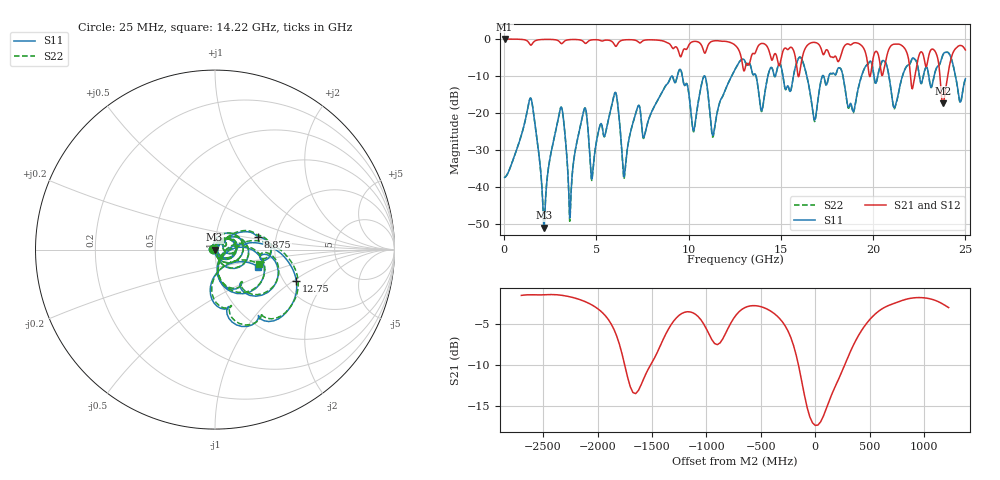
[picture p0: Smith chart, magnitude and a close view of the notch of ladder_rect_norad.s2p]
! R_s4_rect_n1: kisi's ladder with the plane pair as a finite cavity (rect) (Finite board 24 × 16 mm, via L1 → L4 through the L2/L3 cavity, one GND via 2 mm away)
# Hz S RI R 50
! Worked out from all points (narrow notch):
!   1000 points, 25 MHz to 25 GHz, reference 50 ohm
!   highest |S21| = -0.12 dB at 25 MHz (marker M1); lowest = -17.4 dB at 23.77 GHz (marker M2)
!   notch at M2: 15.9 dB deep, 452 MHz wide at half that depth
!   lowest |S11| = -50.9 dB at 2.15 GHz (marker M3), VSWR 1.01, Z = 49.7 - j0.0868 ohm
!   |S11| at or under -10 dB: start of sweep to 9.389 GHz; 9.655 GHz to 12.34 GHz (2.682 GHz wide, 24.4 % of centre); 18.36 GHz to 19.38 GHz (1.015 GHz wide, 5.38 % of centre)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
!   |S22| runs from -50.6 to -3.7 dB; largest |S21 - S12| = 0
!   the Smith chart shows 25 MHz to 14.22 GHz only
!   S11 on the Smith chart (normalised r, x): 25 MHz: 0.97, +0.00; 8.875 GHz: 1.61, +0.25; 12.75 GHz: 2.31, -1.07; 14.22 GHz: 1.59, -0.33
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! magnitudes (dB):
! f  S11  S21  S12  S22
! 25 MHz  -37.4  -0.1  -0.1  -37.4
! 1.425 GHz  -16.0  -1.7  -1.7  -16.0
! 2.15 GHz  -50.9  -0.2  -0.2  -50.6
! 3.025 GHz  -19.2  -1.0  -1.0  -19.2
! 3.575 GHz  -48.1  -0.3  -0.3  -48.6
! 4.2 GHz  -22.0  -0.5  -0.5  -22.0
! 4.775 GHz  -37.2  -0.3  -0.3  -37.5
! 6.025 GHz  -14.5  -2.0  -2.0  -14.5
! 6.525 GHz  -36.6  -0.3  -0.3  -37.1
! 8.35 GHz  -16.3  -0.4  -0.4  -16.3
! 8.875 GHz  -12.0  -1.2  -1.2  -12.0
! 10.28 GHz  -24.8  -0.7  -0.7  -25.1
! 10.88 GHz  -10.1  -3.9  -3.9  -10.1
! 11.32 GHz  -26.1  -0.6  -0.6  -26.5
! 12.53 GHz  -8.2  -1.8  -1.8  -8.2
! 12.75 GHz  -6.3  -3.4  -3.4  -6.3
! 14.22 GHz  -11.7  -1.9  -1.9  -11.8
! 16.05 GHz  -5.0  -8.2  -8.2  -5.0
! 16.68 GHz  -17.6  -1.1  -1.1  -17.7
! 20.85 GHz  -9.9  -2.9  -2.9  -9.9
! 23.77 GHz  -4.4  -17.4  -17.4  -4.4
! 25 GHz  -10.8  -3.0  -3.0  -10.9
